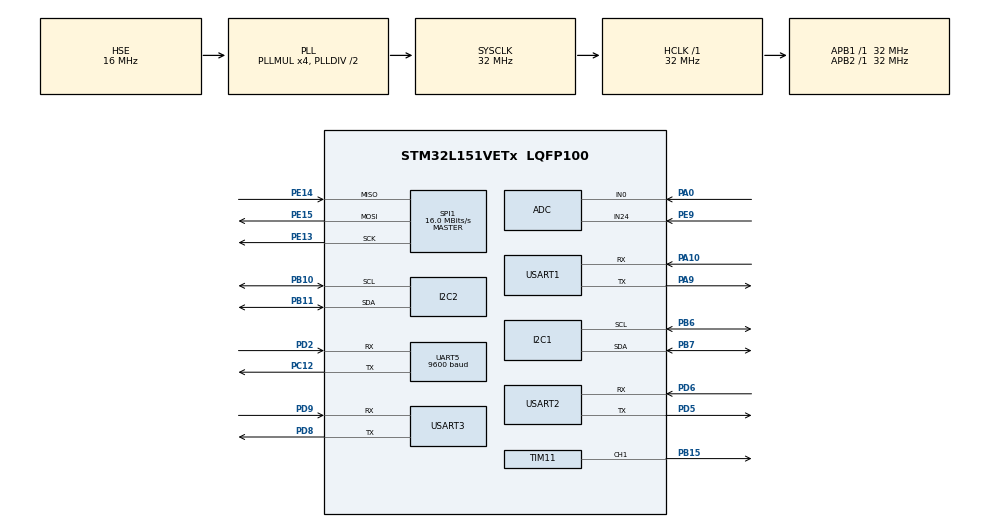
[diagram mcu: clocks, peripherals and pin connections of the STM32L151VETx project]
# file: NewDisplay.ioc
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ADC.Channel-0\#ChannelRegularConversion=ADC_CHANNEL_0
ADC.NbrOfConversionFlag=1
ADC.Rank-0\#ChannelRegularConversion=1
ADC.SamplingTime-0\#ChannelRegularConversion=ADC_SAMPLETIME_4CYCLES
Mcu.Family=STM32L1
Mcu.Name=STM32L151VETx
Mcu.Package=LQFP100
NVIC.PriorityGroup=NVIC_PRIORITYGROUP_4
PA0-WKUP1.Mode=IN0
PA0-WKUP1.Signal=ADC_IN0
PA10.Mode=Asynchronous
PA10.Signal=USART1_RX
PA9.Mode=Asynchronous
PA9.Signal=USART1_TX
PB10.Mode=I2C
PB10.Signal=I2C2_SCL
PB11.Mode=I2C
PB11.Signal=I2C2_SDA
PB15.Signal=S_TIM11_CH1
PB6.Mode=I2C
PB6.Signal=I2C1_SCL
PB7.Mode=I2C
PB7.Signal=I2C1_SDA
PC12.Mode=Asynchronous
PC12.Signal=UART5_TX
PD2.Mode=Asynchronous
PD2.Signal=UART5_RX
PD5.Mode=Asynchronous
PD5.Signal=USART2_TX
PD6.Mode=Asynchronous
PD6.Signal=USART2_RX
PD8.Mode=Asynchronous
PD8.Signal=USART3_TX
PD9.Mode=Asynchronous
PD9.Signal=USART3_RX
PE13.Mode=Full_Duplex_Master
PE13.Signal=SPI1_SCK
PE14.Mode=Full_Duplex_Master
PE14.Signal=SPI1_MISO
PE15.Mode=Full_Duplex_Master
PE15.Signal=SPI1_MOSI
PE9.Mode=IN24
PE9.Signal=ADC_IN24
PH0-OSC_IN.Mode=HSE-External-Oscillator
PH0-OSC_IN.Signal=RCC_OSC_IN
PH1-OSC_OUT.Mode=HSE-External-Oscillator
PH1-OSC_OUT.Signal=RCC_OSC_OUT
ProjectManager.HeapSize=0x200
ProjectManager.StackSize=0x400
ProjectManager.TargetToolchain=STM32CubeIDE
RCC.48MHZClocksFreq_Value=32000000
RCC.AHBFreq_Value=32000000
RCC.APB1Freq_Value=32000000
RCC.APB1TimFreq_Value=32000000
RCC.APB2Freq_Value=32000000
RCC.APB2TimFreq_Value=32000000
RCC.HCLKFreq_Value=32000000
RCC.HSE_VALUE=16000000
RCC.HSI_VALUE=16000000
RCC.LSE_VALUE=32768
RCC.MSI_VALUE=2097000
RCC.PLLMUL=RCC_PLL_MUL4
RCC.PLLSourceVirtual=RCC_PLLSOURCE_HSE
RCC.SYSCLKFreq_VALUE=32000000
RCC.SYSCLKSource=RCC_SYSCLKSOURCE_PLLCLK
RCC.VCOOutputFreq_Value=64000000
SH.S_TIM11_CH1.0=TIM11_CH1,PWM Generation1 CH1
SPI1.CalculateBaudRate=16.0 MBits/s
SPI1.Direction=SPI_DIRECTION_2LINES
SPI1.Mode=SPI_MODE_MASTER
SPI1.VirtualType=VM_MASTER
TIM11.Channel=TIM_CHANNEL_1
UART5.BaudRate=9600
UART5.VirtualMode=Asynchronous
USART1.VirtualMode=VM_ASYNC
USART2.VirtualMode=VM_ASYNC
USART3.VirtualMode=VM_ASYNC
VP_TIM11_VS_ClockSourceINT.Mode=Internal
VP_TIM3_VS_ClockSourceINT.Mode=Internal
VP_TIM4_VS_ClockSourceINT.Mode=Internal
board=custom

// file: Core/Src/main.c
/* USER CODE BEGIN Header */
/**
  ******************************************************************************
  * @file           : main.c
  * @brief          : Main program body
  ******************************************************************************
  * @attention
  *
  * Copyright (c) 2024 STMicroelectronics.
  * All rights reserved.
  *
  * This software is licensed under terms that can be found in the LICENSE file
  * in the root directory of this software component.
  * If no LICENSE file comes with this software, it is provided AS-IS.
  *
  ******************************************************************************
  */
/* USER CODE END Header */
#include "main.h"
#include "adc.h"
#include "i2c.h"
#include "spi.h"
#include "tim.h"
#include "usart.h"
#include "gpio.h"

/* USER CODE BEGIN Includes */
#include "config.h"
/* USER CODE END Includes */

/* USER CODE BEGIN PV */
  typedef enum {
      SCREEN_NEW_PATIENT_SELECTION,
      SCREEN_CONFIRM_NEW_PATIENT,
	  SCREEN_ERASING_OLD_DATA,
      SCREEN_CLAMP_TUBES_MAIN,
      SCREEN_CLAMP_TUBES_PAUSE,
      SCREEN_UNCLAMP_TUBES,
      SCREEN_CONFIRM_PARAMETER,
      SCREEN_BEGIN_SUCTION,
      SCREEN_SETTINGS,
	  SCREEN_ORO_PORT,
	  SCREEN_SUBGLOT_PORT,
	  SCREEN_ET_PORT,
	  SCREEN_IDLE,
	  SCREEN_PAUSED
  } ScreenState;
  int currentOption = 1;  // Default to Option 1
/* USER CODE END PV */

void SystemClock_Config(void);
/* USER CODE BEGIN PFP */

//uint8_t WaitForUserSelection(void);
/* USER CODE END PFP */

int main(void)
{

  /* MCU Configuration--------------------------------------------------------*/

  /* Reset of all peripherals, Initializes the Flash interface and the Systick. */
  HAL_Init();

  /* Configure the system clock */
  SystemClock_Config();

  /* Initialize all configured peripherals */
  MX_GPIO_Init();
  KBD_Init();
  LCD_Initialization();
  MX_ADC_Init();
  MX_I2C1_Init();
  MX_I2C2_Init();
  MX_SPI1_Init();
  MX_TIM3_Init();
  MX_TIM4_Init();
  MX_TIM11_Init();
  MX_UART5_Init();
  MX_USART1_UART_Init();
  MX_USART2_UART_Init();
  MX_USART3_UART_Init();
//  /* USER CODE BEGIN 2 */
  HAL_Delay(5000); //Fixed Delay
  // Define screen states

  ScreenState currentScreen = SCREEN_NEW_PATIENT_SELECTION;  // Start at New Patient Selection
  ScreenState previousScreen = SCREEN_NEW_PATIENT_SELECTION; // Default to initial screen
  if (currentScreen == SCREEN_NEW_PATIENT_SELECTION)
    {
        LCD_DisplayNewPatientSelection();
    }
  while (1)  // Main Loop
  {
      switch (currentScreen)
      {
          /*
           * New Patient Selection Screen
           */
          case SCREEN_NEW_PATIENT_SELECTION:
              if (KBD_ButtonStatus(BUTTON_UP) == BUTTON_CLICKED)
              {
            	  currentOption = 1;
                  LCD_DisplayNewPatientSelectionMenu(1);  // Highlight Option 1
                  HAL_Delay(300);
              }
              else if (KBD_ButtonStatus(BUTTON_DOWN) == BUTTON_CLICKED)
              {
            	  currentOption = 2;
                  LCD_DisplayNewPatientSelectionMenu(2);  // Highlight Option 2
                  HAL_Delay(300);
              }
              else if (KBD_ButtonStatus(BUTTON_OK) == BUTTON_PRESSED)
              {
            	  if(currentOption == 1)
            	  {
            		  currentScreen = SCREEN_CONFIRM_NEW_PATIENT;  // Go to Confirm New Patient Screen
            		  LCD_DisplayConfirmNewPatient();
            		  HAL_Delay(300);
            	  }
            	  else if (currentOption == 2){
            		  currentScreen = SCREEN_CLAMP_TUBES_MAIN;  // Go to Clamp Tubes Main Screen
            		  LCD_DisplayClampTubesMain();
            		  HAL_Delay(300);
            	  }

              }
              else if (KBD_ButtonStatus(BUTTON_BACK) == BUTTON_PRESSED)
              {
                  LCD_DisplayNewPatientSelection();  // Stay on the same screen
                  HAL_Delay(300);
              }
              else if (KBD_ButtonStatus(BUTTON_SETTINGS) == BUTTON_PRESSED)
              {
                  currentScreen = SCREEN_SETTINGS;  // Go to Settings Screen
                  LCD_DisplayNewMainSettingsPage1();
                  HAL_Delay(300);
              }
              break;

          /*
           * Confirm New Patient Screen
           */
          case SCREEN_CONFIRM_NEW_PATIENT:
              if (KBD_ButtonStatus(BUTTON_OK) == BUTTON_PRESSED)
              {
                  currentScreen = SCREEN_ERASING_OLD_DATA;  // Go to Flash Erasing Screen
                  LCD_DisplayFlashErasingScreen();
                  HAL_Delay(2000);
                  currentScreen = SCREEN_CLAMP_TUBES_MAIN;
                  LCD_DisplayClampTubesMain();
              }
              else if (KBD_ButtonStatus(BUTTON_BACK) == BUTTON_PRESSED)
              {
                  currentScreen = SCREEN_NEW_PATIENT_SELECTION;  // Return to New Patient Selection
                  LCD_DisplayNewPatientSelection();
                  HAL_Delay(300);
              }
              break;

          /*
           * Clamp Tubes Main Screen
           */
          case SCREEN_CLAMP_TUBES_MAIN:
              if (KBD_ButtonStatus(BUTTON_OK) == BUTTON_PRESSED)
              {
                  currentScreen = SCREEN_CLAMP_TUBES_PAUSE;  // Go to Clamp Tubes Pause
                  LCD_DisplayClampTubesPause();
                  HAL_Delay(300);
              }
              else if (KBD_ButtonStatus(BUTTON_BACK) == BUTTON_PRESSED)
              {
                  currentScreen = SCREEN_NEW_PATIENT_SELECTION;  // Return to New Patient Selection
                  LCD_DisplayNewPatientSelection();
                  HAL_Delay(300);
              }
              break;

          /*
           * Clamp Tubes Pause Screen
           */
          case SCREEN_CLAMP_TUBES_PAUSE:
              if (KBD_ButtonStatus(BUTTON_OK) == BUTTON_PRESSED)
              {
                  currentScreen = SCREEN_UNCLAMP_TUBES;  // Go to Unclamp Tubes
                  LCD_DisplayUnclampTubes();
                  HAL_Delay(1000);  // 3-second delay
                  currentScreen = SCREEN_CONFIRM_PARAMETER;  // Go to Confirm Parameter Screen
                  LCD_ConfirmParameterAndBeginSuctionScreen();
                  previousScreen=currentScreen;
              }
              else if (KBD_ButtonStatus(BUTTON_BACK) == BUTTON_PRESSED)
              {
                  currentScreen = SCREEN_CLAMP_TUBES_MAIN;  // Return to Clamp Tubes Main
                  LCD_DisplayClampTubesMain();
                  HAL_Delay(300);
              }
              break;

          /*
           * Confirm Parameter And Begin Suction Screen
           */
          case SCREEN_CONFIRM_PARAMETER:
              if (KBD_ButtonStatus(BUTTON_START_PAUSE) == BUTTON_PRESSED)
              {
                  currentScreen = SCREEN_BEGIN_SUCTION;  // Go to Begin Suction Screen
                  LCD_DisplayBeginSuction();
                  HAL_Delay(300);
              }
              else if (KBD_ButtonStatus(BUTTON_SETTINGS) == BUTTON_PRESSED)
              {
                  currentScreen = SCREEN_SETTINGS;  // Go to Settings Screen
                  LCD_DisplayNewMainSettingsPage1();
                  HAL_Delay(300);
              }
              break;

          /*
           * Begin Suction Screen
           */
          case SCREEN_BEGIN_SUCTION:
              if (KBD_ButtonStatus(BUTTON_START_PAUSE) == BUTTON_PRESSED)
              {
            	  currentScreen = SCREEN_ORO_PORT;
                  LCD_DisplayPharyngealPortSuction();  // Navigate to Pharyngeal Port Suction
//                  HAL_Delay(5000);
//                  LCD_DisplaySubglotticPortSuction();
//                  HAL_Delay(5000);
//                  LCD_DisplayInsideEtTubeSuction();
//                  HAL_Delay(5000);
//                  LCD_DisplayWaitScreen();
              }
              else if (KBD_ButtonStatus(BUTTON_SETTINGS) == BUTTON_PRESSED)
              {
                  currentScreen = SCREEN_SETTINGS;  // Go to Settings Screen
                  LCD_DisplayNewMainSettingsPage1();
                  HAL_Delay(300);
              }
              break;
          /*** oro port*/

          case SCREEN_ORO_PORT:
//        	  LCD_DisplayPharyngealPortSuction();
        	  if (KBD_ButtonStatus(BUTTON_START_PAUSE) == BUTTON_PRESSED)
        	  {
        		  currentScreen= SCREEN_PAUSED;
        		  LCD_DisplayPauseScreen();
        		  HAL_Delay(300);
        	  }
          case SCREEN_PAUSED:
        	  if(KBD_ButtonStatus(BUTTON_START_PAUSE) == BUTTON_PRESSED)
        	  {
        		  currentScreen= SCREEN_ORO_PORT;
        		  LCD_DisplayPharyngealPortSuction();
        		  HAL_Delay(300);
        	  }

          /*
           * Settings Screen
           */
          case SCREEN_SETTINGS:
        	  if (KBD_ButtonStatus(BUTTON_BACK) == BUTTON_PRESSED)
                  {
                      currentScreen = previousScreen;  // Go back to the previous screen
                      switch (previousScreen)
                      {
                          case SCREEN_NEW_PATIENT_SELECTION:
                              LCD_DisplayNewPatientSelection();
                              break;
                          case SCREEN_CONFIRM_NEW_PATIENT:
                              LCD_DisplayConfirmNewPatient();
                              break;
                          case SCREEN_CLAMP_TUBES_MAIN:
                              LCD_DisplayClampTubesMain();
                              break;
                          case SCREEN_CLAMP_TUBES_PAUSE:
                              LCD_DisplayClampTubesPause();
                              break;
                          case SCREEN_UNCLAMP_TUBES:
                              LCD_DisplayUnclampTubes();
                              break;
                          case SCREEN_CONFIRM_PARAMETER:
                              LCD_ConfirmParameterAndBeginSuctionScreen();
                              break;
                          case SCREEN_BEGIN_SUCTION:
                              LCD_DisplayBeginSuction();
                              break;
                          default:
                              // Fallback to New Patient Selection if the previous screen is undefined
                              currentScreen = SCREEN_NEW_PATIENT_SELECTION;
                              LCD_DisplayNewPatientSelection();
                              break;
                      }
                      HAL_Delay(300);
                  }
                  break;

          default:
              // Handle undefined states
              currentScreen = SCREEN_NEW_PATIENT_SELECTION;
              LCD_DisplayNewPatientSelection();
              break;
      }
  }

  /* USER CODE END 2 */

  /* Infinite loop */
  /* USER CODE BEGIN WHILE */
  /* ------------------------ NEW PATIENT ROUTINE------------------------------*/

//   LCD_DisplayNewPatientSelection();
//   LCD_DisplayBatteryCharge(75);
//   // Start with the New Patient Selection Screen
//
//   while (1)  // Main Loop
//   {
//       /*
//        * New Patient Selection Screen
//        */
//       if (KBD_ButtonStatus(BUTTON_UP) == BUTTON_CLICKED)
//       {
//           // Highlight Option 1 in the menu
//           LCD_DisplayNewPatientSelectionMenu(1);
//           HAL_Delay(300);  // Debounce delay
//
//           // Wait for OK button to confirm
////           if (KBD_ButtonStatus(BUTTON_OK) == BUTTON_PRESSED)
////           {
////               LCD_DisplayConfirmNewPatient();  // Navigate to Confirm New Patient Screen
////               HAL_Delay(300);  // Debounce delay
////               continue;  // Restart main loop
////           }
//       }
//       else if (KBD_ButtonStatus(BUTTON_DOWN) == BUTTON_CLICKED)
//       {
//           // Highlight Option 2 in the menu
//           LCD_DisplayNewPatientSelectionMenu(2);
//           HAL_Delay(300);  // Debounce delay
//
//           // Wait for OK button to confirm
//           if (KBD_ButtonStatus(BUTTON_OK) == BUTTON_PRESSED)
//           {
//               LCD_DisplayClampTubesMain();  // Navigate to Clamp Tubes Main Screen
//               HAL_Delay(300);  // Debounce delay
//               continue;  // Restart main loop
//           }
//           else if (KBD_ButtonStatus(BUTTON_BACK) == BUTTON_PRESSED)
//           {
//               LCD_DisplayNewPatientSelection();  // Return to New Patient Selection
//               HAL_Delay(300);  // Debounce delay
//               continue;  // Restart main loop
//           }
//       }
//       else if (KBD_ButtonStatus(BUTTON_SETTINGS) == BUTTON_PRESSED)
//       {
//           LCD_DisplayNewMainSettingsPage1();  // Navigate to Settings Screen
//           HAL_Delay(300);  // Debounce delay
//           continue;  // Restart main loop
//       }
//
//       /*
//        * Clamp Tubes Main Screen
//        */
//       if (KBD_ButtonStatus(BUTTON_OK) == BUTTON_PRESSED)
//       {
//    	   LCD_DisplayConfirmNewPatient();  // Navigate to Clamp Tubes Pause Screen
//           HAL_Delay(300);  // Debounce delay
//
//           // Wait for actions on Clamp Tubes Pause Screen
//           while (1)
//           {
//               if (KBD_ButtonStatus(BUTTON_OK) == BUTTON_PRESSED)
//               {
//            	   LCD_DisplayFlashErasingScreen();  // Navigate to Unclamp Tubes Screen
//                   HAL_Delay(3000);  // 3-second delay
//                   LCD_DisplayClampTubesMain();  // Navigate to Confirm Parameter Screen
//                   break;  // Exit Clamp Tubes Pause loop
//               }
//               else if (KBD_ButtonStatus(BUTTON_BACK) == BUTTON_PRESSED)
//               {
//            	   LCD_DisplayNewPatientSelection();  // Return to Clamp Tubes Main Screen
//                   HAL_Delay(300);  // Debounce delay
//                   continue;  // restart main loop
//               }
//           }
//       }
//       else if (KBD_ButtonStatus(BUTTON_BACK) == BUTTON_PRESSED)
//       {
//           LCD_DisplayNewPatientSelection();  // Return to New Patient Selection
//           HAL_Delay(300);  // Debounce delay
//           continue;  // Restart main loop
//       }
//
//       /*
//        * Confirmation Screen
//        */
//       if (KBD_ButtonStatus(BUTTON_OK) == BUTTON_PRESSED)
//       {
//           LCD_DisplayFlashErasingScreen();  // Navigate to Flash Erasing Screen
//           HAL_Delay(300);  // Debounce delay
//           continue;  // Restart main loop
//       }
//       else if (KBD_ButtonStatus(BUTTON_BACK) == BUTTON_PRESSED)
//       {
//           LCD_DisplayNewPatientSelection();  // Return to New Patient Selection
//           HAL_Delay(300);  // Debounce delay
//           continue;  // Restart main loop
//       }
//
//       /*
//        * Confirm Parameter And Begin Suction Screen
//        */
//       if (KBD_ButtonStatus(BUTTON_START_PAUSE) == BUTTON_PRESSED)
//       {
//           LCD_DisplayBeginSuction();  // Navigate to Begin Suction Screen
//           HAL_Delay(300);  // Debounce delay
//           continue;  // Restart main loop
//       }
//       else if (KBD_ButtonStatus(BUTTON_SETTINGS) == BUTTON_PRESSED)
//       {
//           LCD_DisplayNewMainSettingsPage1();  // Navigate to Settings Screen
//           HAL_Delay(300);  // Debounce delay
//           continue;  // Restart main loop
//       }
//
//       /*
//        * Begin Suction Screen
//        */
//       if (KBD_ButtonStatus(BUTTON_START_PAUSE) == BUTTON_PRESSED)
//       {
//           LCD_DisplayPharyngealPortSuction();  // Navigate to Pharyngeal Port Suction Screen
//           HAL_Delay(300);  // Debounce delay
//           continue;  // Restart main loop
//       }
//       else if (KBD_ButtonStatus(BUTTON_SETTINGS) == BUTTON_PRESSED)
//       {
//           LCD_DisplayNewMainSettingsPage1();  // Navigate to Settings Screen
//           HAL_Delay(300);  // Debounce delay
//           continue;  // Restart main loop
//       }
//   }

/* -------------------------------SETTINGS PAGE TESTING-------------------------*/
//  LCD_DisplayImage(SETTINGS_SCREEN_1_IMAGE_INDEX);
//  LCD_DisplayIcon(ROW_1_ICON_X, ROW_1_ICON_Y, CLEAR_ICON);
//  LCD_DisplayNumber(FB_MODE, SETTINGS_SYSTEM_NUM_1_X, SETTINGS_SYSTEM_NUM_1_Y, i32TempHSP, LCD_8X16_FONT_INDEX, BLACK, WHITE);
//  LCD_DisplayNumber(FB_MODE, SETTINGS_SYSTEM_NUM_2_X, SETTINGS_SYSTEM_NUM_2_Y, i32TempLST, LCD_8X16_FONT_INDEX, BLACK, WHITE);
//  LCD_DisplayNumber(FB_MODE, SETTINGS_SYSTEM_NUM_3_X, SETTINGS_SYSTEM_NUM_3_Y, i32TempPressureStep, LCD_8X16_FONT_INDEX, BLACK, WHITE);
//  LCD_DisplayNumber(FB_MODE, SETTINGS_SYSTEM_NUM_4_X, SETTINGS_SYSTEM_NUM_4_Y, i32TempTimeIntervalStep, LCD_8X16_FONT_INDEX, BLACK, WHITE);
//  // Main interaction loop
//  while (1)
//  {
//      // Handle UP Button Press
//      if (KBD_ButtonStatus(BUTTON_UP) == BUTTON_CLICKED)
//      {
//          // Change row based on current active row (ui8Row)
//          if (ui8Row == ROW1)
//          {
//              ui8Row = ROW4;  // Wrap around to ROW4
//              LCD_DisplayIcon(ROW_4_ICON_X, ROW_4_ICON_Y, (ui8Row == ROW4) ? DISPLAY_ICON:CLEAR_ICON);
//          }
//          else if (ui8Row == ROW2)
//          {
//
//              ui8Row = ROW1;  // Move to previous row (ROW1)
//              LCD_DisplayIcon(ROW_1_ICON_X, ROW_1_ICON_Y, (ui8Row == ROW1) ? DISPLAY_ICON:CLEAR_ICON);
//          }
//          else if (ui8Row == ROW3)
//          {
//
//              ui8Row = ROW2;  // Move to previous row (ROW2)
//              LCD_DisplayIcon(ROW_2_ICON_X, ROW_2_ICON_Y,(ui8Row == ROW2) ? DISPLAY_ICON:CLEAR_ICON);
//          }
//          else if (ui8Row == ROW4)
//          {
//
//              ui8Row = ROW3;  // Move to previous row (ROW3)
//              LCD_DisplayIcon(ROW_3_ICON_X,ROW_3_ICON_Y, (ui8Row == ROW3) ? DISPLAY_ICON:CLEAR_ICON);
//          }
//
//          HAL_Delay(300);  // Debounce delay
//      }
//
//      // Handle DOWN Button Press
//      if (KBD_ButtonStatus(BUTTON_DOWN) == BUTTON_CLICKED)
//      {
//          // Change row based on current active row (ui8Row)
//          if (ui8Row == ROW1)
//          {
//              ui8Row = ROW2;  // Move to next row (ROW2)
//              LCD_DisplayIcon(ROW_2_ICON_X,ROW_2_ICON_Y, (ui8Row == ROW2) ? DISPLAY_ICON:CLEAR_ICON);
//          }
//          else if (ui8Row == ROW2)
//          {
//              ui8Row = ROW3;  // Move to next row (ROW3)
//              LCD_DisplayIcon(ROW_3_ICON_X, ROW_3_ICON_Y, (ui8Row == ROW3) ? DISPLAY_ICON:CLEAR_ICON);
//          }
//          else if (ui8Row == ROW3)
//          {
//              ui8Row = ROW4;  // Move to next row (ROW4)
//              LCD_DisplayIcon(ROW_4_ICON_X, ROW_4_ICON_Y, (ui8Row == ROW4) ? DISPLAY_ICON:CLEAR_ICON);
//          }
//          else if (ui8Row == ROW4)
//          {
//              ui8Row = ROW1;  // Wrap around to ROW1
//              LCD_DisplayIcon(ROW_1_ICON_X, ROW_1_ICON_Y, (ui8Row == ROW1) ? DISPLAY_ICON:CLEAR_ICON);
//          }
//
//          HAL_Delay(300);  // Debounce delay
//      }
//
//      // Handle LEFT Button Press (Decrement value based on active row)
//      if (KBD_ButtonStatus(BUTTON_LEFT) == BUTTON_CLICKED)
//      {
//          if (ui8Row == ROW1 && i32TempHSP > HSP_MIN)
//          {
//
//              i32TempHSP--;  // Decrease High System Pressure
//              LCD_DisplayNumber(FB_MODE, SETTINGS_SYSTEM_NUM_1_X, SETTINGS_SYSTEM_NUM_1_Y, i32TempHSP, LCD_8X16_FONT_INDEX, BLACK, WHITE);
//              LCD_DisplayIcon(ROW_1_LEFT_ICON_X, ROW_1_LEFT_ICON_Y, (i32TempHSP <= HSP_MIN) ? CLEAR_ICON : DISPLAY_ICON);
//              LCD_DisplayIcon(ROW_1_RIGHT_ICON_X, ROW_1_RIGHT_ICON_Y, (i32TempHSP >= HSP_MAX) ? CLEAR_ICON : DISPLAY_ICON);
//              HAL_Delay(300);  // Debounce delay
//          }
//          else if (ui8Row == ROW2 && i32TempLST > LST_MIN)
//          {
//
//              i32TempLST--;  // Decrease Lavage Settling Time
//              LCD_DisplayNumber(FB_MODE, SETTINGS_SYSTEM_NUM_2_X, SETTINGS_SYSTEM_NUM_2_Y, i32TempLST, LCD_8X16_FONT_INDEX, BLACK, WHITE);
//              LCD_DisplayIcon(ROW_2_LEFT_ICON_X, ROW_2_LEFT_ICON_Y, (i32TempLST <= LST_MIN) ? CLEAR_ICON : DISPLAY_ICON);
//              LCD_DisplayIcon(ROW_2_RIGHT_ICON_X, ROW_2_RIGHT_ICON_Y, (i32TempLST >= LST_MAX) ? CLEAR_ICON : DISPLAY_ICON);
//              HAL_Delay(300);  // Debounce delay
//          }
//          else if (ui8Row == ROW3 && i32TempPressureStep > PRESSURE_STEP_MIN)
//          {
//
//              i32TempPressureStep--;  // Decrease Pressure Step
//              LCD_DisplayNumber(FB_MODE, SETTINGS_SYSTEM_NUM_3_X, SETTINGS_SYSTEM_NUM_3_Y, i32TempPressureStep, LCD_8X16_FONT_INDEX, BLACK, WHITE);
//              LCD_DisplayIcon(ROW_3_LEFT_ICON_X, ROW_3_LEFT_ICON_Y, (i32TempPressureStep <= PRESSURE_STEP_MIN) ? CLEAR_ICON : DISPLAY_ICON);
//              LCD_DisplayIcon(ROW_3_RIGHT_ICON_X, ROW_3_RIGHT_ICON_Y, (i32TempPressureStep >= PRESSURE_STEP_MAX) ? CLEAR_ICON : DISPLAY_ICON);
//              HAL_Delay(300);  // Debounce delay
//          }
//          else if (ui8Row == ROW4 && i32TempTimeIntervalStep > TIME_INTERVAL_STEP_MIN)
//          {
//              i32TempTimeIntervalStep--;  // Decrease Time Interval Step
//              LCD_DisplayNumber(FB_MODE, SETTINGS_SYSTEM_NUM_4_X, SETTINGS_SYSTEM_NUM_4_Y, i32TempTimeIntervalStep, LCD_8X16_FONT_INDEX, BLACK, WHITE);
//              LCD_DisplayIcon(ROW_4_LEFT_ICON_X, ROW_4_LEFT_ICON_Y, (i32TempTimeIntervalStep <= TIME_INTERVAL_STEP_MIN) ? CLEAR_ICON : DISPLAY_ICON);
//              LCD_DisplayIcon(ROW_4_RIGHT_ICON_X, ROW_4_RIGHT_ICON_Y, (i32TempTimeIntervalStep >= TIME_INTERVAL_STEP_MAX) ? CLEAR_ICON : DISPLAY_ICON);
//              HAL_Delay(300);  // Debounce delay
//          }
//      }
//
//      // Handle RIGHT Button Press (Increment value based on active row)
//      if (KBD_ButtonStatus(BUTTON_RIGHT) == BUTTON_CLICKED)
//      {
//          if (ui8Row == ROW1 && i32TempHSP < HSP_MAX)
//          {
//              i32TempHSP++;  // Increase High System Pressure
//              LCD_DisplayNumber(FB_MODE, SETTINGS_SYSTEM_NUM_1_X, SETTINGS_SYSTEM_NUM_1_Y, i32TempHSP, LCD_8X16_FONT_INDEX, BLACK, WHITE);
//              LCD_DisplayIcon(ROW_1_LEFT_ICON_X, ROW_1_LEFT_ICON_Y, (i32TempHSP <= HSP_MIN) ? CLEAR_ICON : DISPLAY_ICON);
//              LCD_DisplayIcon(ROW_1_RIGHT_ICON_X, ROW_1_RIGHT_ICON_Y, (i32TempHSP >= HSP_MAX) ? CLEAR_ICON : DISPLAY_ICON);
//              HAL_Delay(300);  // Debounce delay
//          }
//          else if (ui8Row == ROW2 && i32TempLST < LST_MAX)
//          {
//              i32TempLST++;  // Increase Lavage Settling Time
//              LCD_DisplayNumber(FB_MODE, SETTINGS_SYSTEM_NUM_2_X, SETTINGS_SYSTEM_NUM_2_Y, i32TempLST, LCD_8X16_FONT_INDEX, BLACK, WHITE);
//              LCD_DisplayIcon(ROW_2_LEFT_ICON_X, ROW_2_LEFT_ICON_Y, (i32TempLST <= LST_MIN) ? CLEAR_ICON : DISPLAY_ICON);
//              LCD_DisplayIcon(ROW_2_RIGHT_ICON_X, ROW_2_RIGHT_ICON_Y, (i32TempLST >= LST_MAX) ? CLEAR_ICON : DISPLAY_ICON);
//              HAL_Delay(300);  // Debounce delay
//          }
//          else if (ui8Row == ROW3 && i32TempPressureStep < PRESSURE_STEP_MAX)
//          {
//              i32TempPressureStep++;  // Increase Pressure Step
//              LCD_DisplayNumber(FB_MODE, SETTINGS_SYSTEM_NUM_3_X, SETTINGS_SYSTEM_NUM_3_Y, i32TempPressureStep, LCD_8X16_FONT_INDEX, BLACK, WHITE);
//              LCD_DisplayIcon(ROW_3_LEFT_ICON_X, ROW_3_LEFT_ICON_Y, (i32TempPressureStep <= PRESSURE_STEP_MIN) ? CLEAR_ICON : DISPLAY_ICON);
//              LCD_DisplayIcon(ROW_3_RIGHT_ICON_X, ROW_3_RIGHT_ICON_Y, (i32TempPressureStep >= PRESSURE_STEP_MAX) ? CLEAR_ICON : DISPLAY_ICON);
//              HAL_Delay(300);  // Debounce delay
//          }
//          else if (ui8Row == ROW4 && i32TempTimeIntervalStep < TIME_INTERVAL_STEP_MAX)
//          {
//              i32TempTimeIntervalStep++;  // Increase Time Interval Step
//              LCD_DisplayNumber(FB_MODE, SETTINGS_SYSTEM_NUM_4_X, SETTINGS_SYSTEM_NUM_4_Y, i32TempTimeIntervalStep, LCD_8X16_FONT_INDEX, BLACK, WHITE);
//              LCD_DisplayIcon(ROW_4_LEFT_ICON_X, ROW_4_LEFT_ICON_Y, (i32TempTimeIntervalStep <= TIME_INTERVAL_STEP_MIN) ? CLEAR_ICON : DISPLAY_ICON);
//              LCD_DisplayIcon(ROW_4_RIGHT_ICON_X, ROW_4_RIGHT_ICON_Y, (i32TempTimeIntervalStep >= TIME_INTERVAL_STEP_MAX) ? CLEAR_ICON : DISPLAY_ICON);
//              HAL_Delay(300);  // Debounce delay
//          }
//      }
//
//      // Handle BACK Button Press (Exit without saving)
//      if (KBD_ButtonStatus(BUTTON_BACK) == BUTTON_CLICKED)
//      {
//          break;  // Exit the loop or navigate to the previous screen
//      }
//
//      // Handle OK Button Press (Save settings and exit)
//      if (KBD_ButtonStatus(BUTTON_OK) == BUTTON_CLICKED)
//      {
//          // Save settings logic here
//          LCD_DisplayImage(SETTINGS_SAVE_CONFIRMATION_IMAGE_INDEX);
//          break;  // Exit the loop and save settings
//      }
//  }

//  while (1)  // Main Loop
//  {
//      // Handle LEFT Button Press: Decrease i32TempHSP
//      if (KBD_ButtonStatus(BUTTON_LEFT) == BUTTON_PRESSED)
//      {
//          if ((i32TempHSP - i32TempPressureStep) >= HSP_MIN)
//          {
//              i32TempHSP -= i32TempPressureStep;  // Decrease value
//              LCD_DisplayNumber(FB_MODE, SETTINGS_SYSTEM_NUM_1_X, SETTINGS_SYSTEM_NUM_1_Y, i32TempHSP, LCD_8X16_FONT_INDEX, BLACK, WHITE);
//              HAL_Delay(300);  // Debounce delay
//          }
//      }
//
//      // Handle RIGHT Button Press: Increase i32TempHSP
//      else if (KBD_ButtonStatus(BUTTON_RIGHT) == BUTTON_PRESSED)
//      {
//          if ((i32TempHSP + i32TempPressureStep) <= HSP_MAX)
//          {
//              i32TempHSP += i32TempPressureStep;  // Increase value
//              LCD_DisplayNumber(FB_MODE, SETTINGS_SYSTEM_NUM_1_X, SETTINGS_SYSTEM_NUM_1_Y, i32TempHSP, LCD_8X16_FONT_INDEX, BLACK, WHITE);
//              HAL_Delay(300);  // Debounce delay
//          }
//
//          // Increment Pressure Step until max is reached
//          if (i32TempPressureStep < PRESSURE_STEP_MAX)
//          {
//              i32TempPressureStep++;  // Gradual step increase
//          }
//      }
//
//      // Handle BACK Button Press: Break out of the loop or navigate back
//      if (KBD_ButtonStatus(BUTTON_BACK) == BUTTON_PRESSED)
//      {
//          break;  // Exit the loop or navigate to the previous screen
//      }
//  }

}

/***/

void SystemClock_Config(void)
{
  RCC_OscInitTypeDef RCC_OscInitStruct = {0};
  RCC_ClkInitTypeDef RCC_ClkInitStruct = {0};

  /** Configure the main internal regulator output voltage
  */
  __HAL_PWR_VOLTAGESCALING_CONFIG(PWR_REGULATOR_VOLTAGE_SCALE1);

  /** Initializes the RCC Oscillators according to the specified parameters
  * in the RCC_OscInitTypeDef structure.
  */
  RCC_OscInitStruct.OscillatorType = RCC_OSCILLATORTYPE_HSI|RCC_OSCILLATORTYPE_HSE;
  RCC_OscInitStruct.HSEState = RCC_HSE_ON;
  RCC_OscInitStruct.HSIState = RCC_HSI_ON;
  RCC_OscInitStruct.HSICalibrationValue = RCC_HSICALIBRATION_DEFAULT;
  RCC_OscInitStruct.PLL.PLLState = RCC_PLL_ON;
  RCC_OscInitStruct.PLL.PLLSource = RCC_PLLSOURCE_HSE;
  RCC_OscInitStruct.PLL.PLLMUL = RCC_PLL_MUL4;
  RCC_OscInitStruct.PLL.PLLDIV = RCC_PLL_DIV2;
  if (HAL_RCC_OscConfig(&RCC_OscInitStruct) != HAL_OK)
  {
    Error_Handler();
  }

  /** Initializes the CPU, AHB and APB buses clocks
  */
  RCC_ClkInitStruct.ClockType = RCC_CLOCKTYPE_HCLK|RCC_CLOCKTYPE_SYSCLK
                              |RCC_CLOCKTYPE_PCLK1|RCC_CLOCKTYPE_PCLK2;
  RCC_ClkInitStruct.SYSCLKSource = RCC_SYSCLKSOURCE_PLLCLK;
  RCC_ClkInitStruct.AHBCLKDivider = RCC_SYSCLK_DIV1;
  RCC_ClkInitStruct.APB1CLKDivider = RCC_HCLK_DIV1;
  RCC_ClkInitStruct.APB2CLKDivider = RCC_HCLK_DIV1;

  if (HAL_RCC_ClockConfig(&RCC_ClkInitStruct, FLASH_LATENCY_1) != HAL_OK)
  {
    Error_Handler();
  }
}

void Error_Handler(void)
{
  __disable_irq();
  while (1)
  {
  }
}
